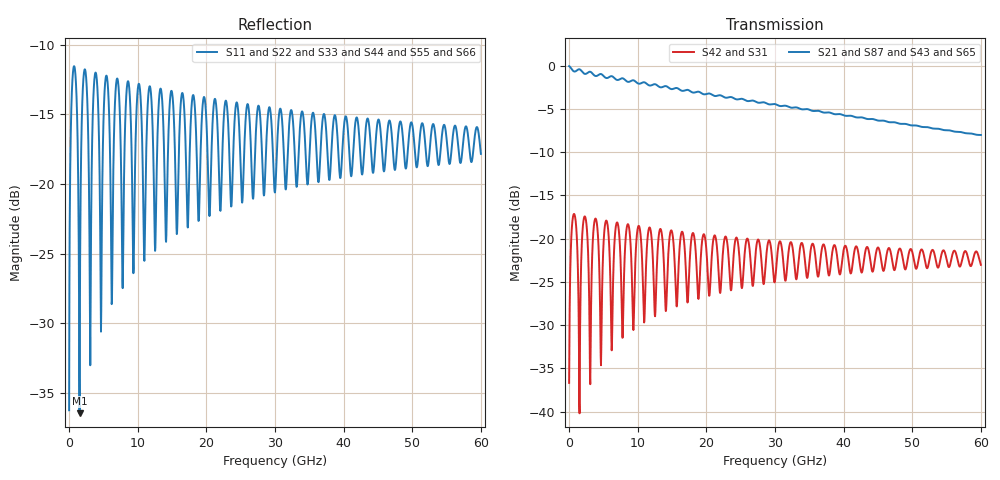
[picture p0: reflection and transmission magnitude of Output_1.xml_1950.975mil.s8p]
# Hz S ri R 50
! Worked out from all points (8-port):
!   1500 points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, 40 MHz to 60 GHz, reference 50 ohm
!   strongest paths, dB at 40 MHz, 15.04 GHz, 30.04 GHz, 45.04 GHz, 60 GHz:
!     S21: -0.1, -2.7, -4.4, -6.3, -8.0
!     S87: -0.1, -2.7, -4.4, -6.3, -8.0
!     S43: -0.1, -2.7, -4.5, -6.4, -8.0
!     S65: -0.1, -2.7, -4.5, -6.4, -8.0
!     S42: -36.7, -19.3, -24.8, -21.0, -23.0
!     S31: -36.7, -19.3, -24.8, -21.0, -23.0
!   lowest |S11| = -36.4 dB at 1.56 GHz (marker M1), VSWR 1.03, Z = 48.7 - j0.628 ohm
!   |S11| at or under -10 dB: start of sweep to end of sweep
